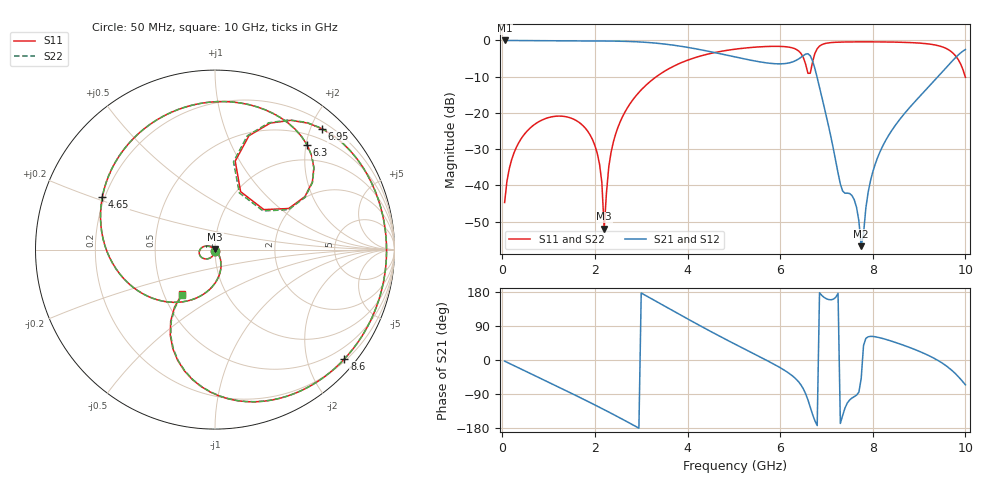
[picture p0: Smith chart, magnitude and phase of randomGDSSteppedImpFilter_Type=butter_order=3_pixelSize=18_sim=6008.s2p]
! freq	dB(S11)	phase(S11)	dB(S12)	phase(S12)
!  dB(S21)	phase(S21)	dB(S22)	phase(S22)
!S-par simulation data
#  GHz  S  DB  R 50
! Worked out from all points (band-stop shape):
!   200 points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, 50 MHz to 10 GHz, reference 50 ohm
!   highest |S21| = -0.01 dB at 50 MHz (marker M1); lowest = -56.7 dB at 7.75 GHz (marker M2)
!   |S21| within 3 dB of the highest: start of sweep to 4.457 GHz; 9.941 GHz to end of sweep
!   lowest |S11| = -51.9 dB at 2.2 GHz (marker M3), VSWR 1.01, Z = 50.2 + j0.202 ohm
!   |S11| at or under -10 dB: start of sweep to 3.326 GHz; 9.995924 GHz to end of sweep
!   |S22| runs from -51.5 to -0.4 dB; largest |S21 - S12| = 0
!   S11 on the Smith chart (normalised r, x): 50 MHz: 1.00, -0.01; 4.65 GHz: 0.19, +0.22; 6.3 GHz: 0.69, +2.03; 6.95 GHz: 0.31, +2.19; 8.6 GHz: 0.24, -2.72; 10 GHz: 0.62, -0.34
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0.05  -44.69 -89.2  -0.01 -3.0  -0.01 -3.0  -44.69 -89.2
0.25  -31.09 -104.3  -0.03 -14.8  -0.03 -14.8  -31.09 -104.2
0.6  -24.18 -125.8  -0.06 -35.3  -0.06 -35.3  -24.17 -125.7
1.75  -23.60 165.6  -0.14 -103.4  -0.14 -103.4  -23.60 166.1
2.1  -34.14 143.9  -0.15 -124.8  -0.15 -124.8  -34.14 146.0
2.2  -51.93 52.7  -0.16 -131.1  -0.16 -131.1  -51.46 -149.6
2.3  -34.80 -48.4  -0.17 -137.4  -0.17 -137.4  -34.79 -50.7
2.5  -23.88 -61.3  -0.21 -150.2  -0.21 -150.2  -23.87 -61.9
3.4  -9.34 -121.6  -0.85 149.5  -0.85 149.5  -9.34 -121.6
4.65  -3.18 154.8  -3.52 65.6  -3.52 65.6  -3.18 154.9
5.05  -2.37 129.5  -4.62 40.2  -4.62 40.2  -2.37 129.6
6.3  -2.20 48.5  -5.77 -45.4  -5.77 -45.4  -2.21 48.4
6.55  -6.55 29.1  -3.77 -89.0  -3.77 -89.0  -6.64 28.5
6.7  -5.93 77.1  -5.63 -143.6  -5.63 -143.6  -6.03 78.1
6.95  -0.92 48.4  -18.31 165.1  -18.31 165.1  -0.93 48.9
7.65  -0.40 3.9  -46.04 -92.8  -46.04 -92.8  -0.40 4.2
7.75  -0.39 -1.0  -56.74 -49.1  -56.74 -49.1  -0.39 -0.8
7.95  -0.39 -10.5  -38.74 62.3  -38.74 62.3  -0.39 -10.3
8.35  -0.44 -28.9  -26.02 51.9  -26.02 51.9  -0.44 -28.7
8.6  -0.50 -40.2  -21.50 41.8  -21.50 41.8  -0.50 -40.0
9.45  -1.57 -84.9  -9.42 -4.3  -9.42 -4.3  -1.57 -84.7
10  -10.17 -126.6  -2.52 -65.5  -2.52 -65.5  -10.12 -126.0
